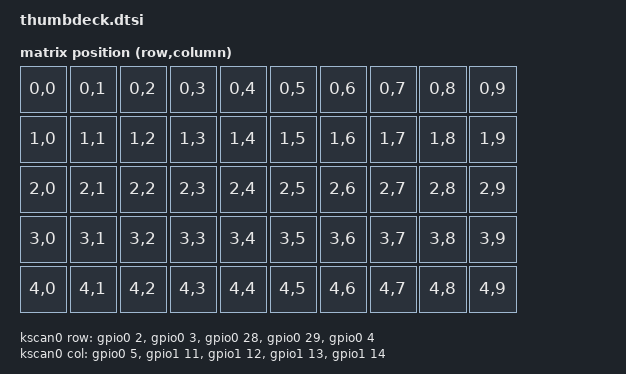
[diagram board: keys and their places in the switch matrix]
/*
 * thumbdeck.dtsi — shared devicetree for both halves of the split thumb keyboard.
 *
 * Two 25-key (5x5) halves join into ONE 50-key logical keymap:
 *   central (right)     -> logical columns 0..4   (no offset)
 *   peripheral (left)   -> logical columns 5..9   (col-offset = 5, set in
 *                          thumbdeck_left.overlay)
 * ZMK applies the split column offset to the PERIPHERAL, so the per-row keymap
 * order is RIGHT-half then LEFT-half. See docs/matrix-and-diodes.md.
 *
 * GPIO pins below are the REAL exposed pins of the XIAO nRF52840 (D0..D9):
 *   D0=P0.02 D1=P0.03 D2=P0.28 D3=P0.29 D4=P0.04  (rows)
 *   D5=P0.05 D6=P1.11 D7=P1.12 D8=P1.13 D9=P1.14  (cols)   D10=P1.15 spare.
 * (The spec's provisional P0.06..P0.09 are NOT broken out on the XIAO — fixed.)
 */

#include <dt-bindings/zmk/matrix_transform.h>

/ {
	chosen {
		zmk,kscan = &kscan0;
		zmk,matrix_transform = &default_transform;
	};

	default_transform: keymap_transform_0 {
		compatible = "zmk,matrix-transform";
		columns = <10>;
		rows = <5>;
		/* identity map; peripheral is shifted into cols 5..9 by col-offset */
		map = <
			RC(0,0) RC(0,1) RC(0,2) RC(0,3) RC(0,4)   RC(0,5) RC(0,6) RC(0,7) RC(0,8) RC(0,9)
			RC(1,0) RC(1,1) RC(1,2) RC(1,3) RC(1,4)   RC(1,5) RC(1,6) RC(1,7) RC(1,8) RC(1,9)
			RC(2,0) RC(2,1) RC(2,2) RC(2,3) RC(2,4)   RC(2,5) RC(2,6) RC(2,7) RC(2,8) RC(2,9)
			RC(3,0) RC(3,1) RC(3,2) RC(3,3) RC(3,4)   RC(3,5) RC(3,6) RC(3,7) RC(3,8) RC(3,9)
			RC(4,0) RC(4,1) RC(4,2) RC(4,3) RC(4,4)   RC(4,5) RC(4,6) RC(4,7) RC(4,8) RC(4,9)
		>;
	};

	kscan0: kscan {
		compatible = "zmk,kscan-gpio-matrix";
		diode-direction = "col2row";

		row-gpios
			= <&gpio0  2 (GPIO_ACTIVE_HIGH | GPIO_PULL_DOWN)>   /* D0  P0.02 */
			, <&gpio0  3 (GPIO_ACTIVE_HIGH | GPIO_PULL_DOWN)>   /* D1  P0.03 */
			, <&gpio0 28 (GPIO_ACTIVE_HIGH | GPIO_PULL_DOWN)>   /* D2  P0.28 */
			, <&gpio0 29 (GPIO_ACTIVE_HIGH | GPIO_PULL_DOWN)>   /* D3  P0.29 */
			, <&gpio0  4 (GPIO_ACTIVE_HIGH | GPIO_PULL_DOWN)>   /* D4  P0.04 */
			;

		col-gpios
			= <&gpio0  5 GPIO_ACTIVE_HIGH>   /* D5  P0.05 */
			, <&gpio1 11 GPIO_ACTIVE_HIGH>   /* D6  P1.11 */
			, <&gpio1 12 GPIO_ACTIVE_HIGH>   /* D7  P1.12 */
			, <&gpio1 13 GPIO_ACTIVE_HIGH>   /* D8  P1.13 */
			, <&gpio1 14 GPIO_ACTIVE_HIGH>   /* D9  P1.14 */
			;
	};
};
